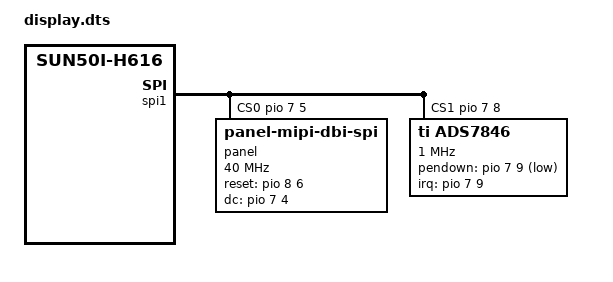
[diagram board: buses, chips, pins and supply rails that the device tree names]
/*
    VCC = PIN 17 - 3.3v  
    GND = PIN 20 - GND  
    CS = PIN 24 - PH5 (229)  
    RESET = PIN 22 - PI6 (262)  
    DC/RS = PIN 18 - PH4 (228)  
    MOSI = PIN 19 - PH7 (231)  
    SCK = PIN 23 - PH6 (230)  
    LED = PIN 17 - 3.3v  
    MISO = PIN 21 - PH8 (232)
*/

/dts-v1/;
/plugin/;
/ {
    compatible = "allwinner,sun50i-h616";
    fragment@0 {
        target = <&spi1>;
        __overlay__ {
            status = "okay";
            pinctrl-names = "default"; //new for linux 6.13
            pinctrl-0 = <&spi1_pins>; //new for linux 6.13
            cs-gpios = <&pio 7 5 0>, <&pio 7 8 0>; // PH5 = CS0 (display), PH8 = CS1 (touch)
            panel: panel@0 {
                compatible = "panel-mipi-dbi-spi";
                reg = <0>;
                spi-max-frequency = <40000000>;
                width-mm=<74>;
                height-mm=<49>;
                reset-gpios = <&pio 8 6 0>; // PI6
                dc-gpios = <&pio 7 4 0>; // PH4
                write-only;
                format = "b6x2g6x2r6x2";
                panel-timing {
                    hactive = <480>;
                    vactive = <320>;
                    hback-porch = <0>;
                    vback-porch = <0>;
                    clock-frequency = <0>;
                    hfront-porch = <0>;
                    hsync-len = <0>;
                    vfront-porch = <0>;
                    vsync-len = <0>;
                };
            };

            ads7846: ads7846@1 {
                compatible = "ti,ads7846";
                reg = <1>;
                pinctrl-names = "default";
                spi-max-frequency = <1000000>;
                interrupt-parent = <&pio>;
                interrupts = <7 9 2>; /* PH9 - IRQ */
                pendown-gpio = <&pio 7 9 1>; /* PH9 */
                
                /* OPTIONS */
                ti,x-min = /bits/ 16 <0>;
                ti,y-min = /bits/ 16 <0>;
        		ti,x-max = /bits/ 16 <0xFFF>;
	        	ti,y-max = /bits/ 16 <0xFFF>;
                ti,pressure-min = /bits/ 16 <0>;
                ti,pressure-max = /bits/ 16 <0xFFF>;
                ti,x-plate-ohms = /bits/ 16 <400>;
                ti,swap-xy = <1>;
	        };
        };
    };
};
